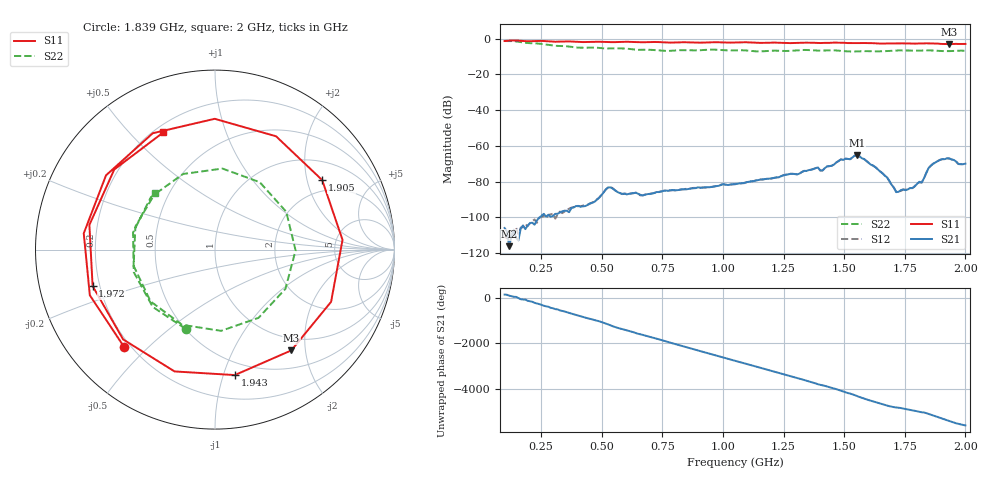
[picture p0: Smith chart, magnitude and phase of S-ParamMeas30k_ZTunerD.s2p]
!Keysight Technologies,N5242B,MY48420967,A.15.65.19
!Date: Monday, December 19, 2022 10:10:44
!Correction: S11(C  2-Port  )
!S21(C  2-Port  )
!S12(C  2-Port  )
!S22(C  2-Port  )
!S2P File: Measurements: S11, S21, S12, S22:
# Hz S  dB  R 50
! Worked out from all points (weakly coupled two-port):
!   201 points, 100 MHz to 2 GHz, reference 50 ohm
!   highest |S21| = -65.18 dB at 1.554 GHz (marker M1); lowest = -116.1 dB at 119 MHz (marker M2)
!   lowest |S11| = -3.0 dB at 1.933 GHz (marker M3), VSWR 5.77, Z = 39 - j87 ohm
!   |S11| at or under -10 dB: nowhere
!   |S22| runs from -7.2 to -1.3 dB; largest |S21 - S12| = 4.5e-06
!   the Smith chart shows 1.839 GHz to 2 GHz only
!   S11 on the Smith chart (normalised r, x): 1.839 GHz: 0.18, -0.43; 1.905 GHz: 1.58, +2.48; 1.943 GHz: 0.39, -1.09; 1.972 GHz: 0.17, -0.14; 2 GHz: 0.24, +0.63
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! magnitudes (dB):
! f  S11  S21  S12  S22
! 100 MHz  -1.3  -105.9  -110.7  -1.3
! 119 MHz  -1.0  -116.1  -110.0  -1.3
! 423 MHz  -1.9  -93.8  -93.4  -5.1
! 736.5 MHz  -1.9  -85.8  -85.7  -6.6
! 1.05 GHz  -2.1  -81.5  -81.3  -6.5
! 1.192 GHz  -2.3  -78.3  -78.4  -6.8
! 1.373 GHz  -2.3  -72.9  -72.9  -6.5
! 1.392 GHz  -2.4  -72.0  -72.0  -6.7
! 1.411 GHz  -2.4  -73.7  -73.7  -6.6
! 1.487 GHz  -2.3  -67.5  -67.5  -6.8
! 1.525 GHz  -2.5  -67.4  -67.4  -7.2
! 1.554 GHz  -2.5  -65.2  -65.2  -7.1
! 1.629 GHz  -2.6  -71.9  -71.9  -7.1
! 1.687 GHz  -2.7  -79.6  -79.7  -6.8
! 1.819 GHz  -2.7  -80.5  -80.5  -6.6
! 1.839 GHz  -2.6  -75.1  -75.2  -6.5
! 1.857 GHz  -2.7  -71.0  -71.0  -6.6
! 1.905 GHz  -3.0  -67.4  -67.3  -6.9
! 1.933 GHz  -3.0  -67.0  -67.0  -7.0
! 1.943 GHz  -3.0  -67.6  -67.6  -6.9
! 1.972 GHz  -3.0  -70.1  -70.1  -6.7
! 2 GHz  -2.9  -69.9  -69.8  -6.8
